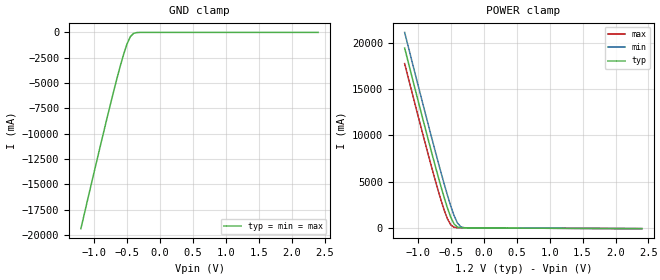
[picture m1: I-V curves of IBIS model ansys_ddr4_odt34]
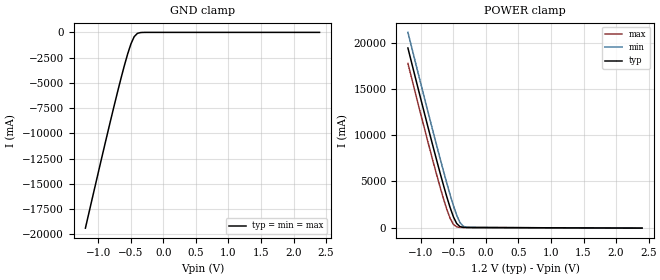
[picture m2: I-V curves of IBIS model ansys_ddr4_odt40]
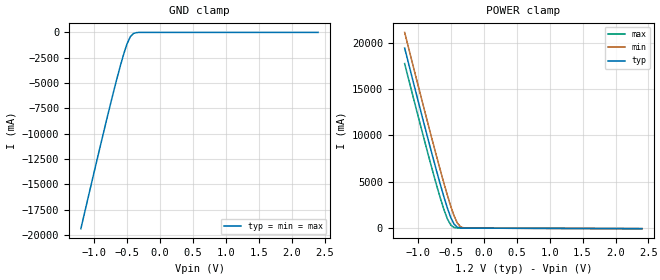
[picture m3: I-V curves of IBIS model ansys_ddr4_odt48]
|Copyright 2018 ANSYS, Inc.
[IBIS Ver] 5.1
[File Name] ansys_ddr4.ibs
[File Rev] 0.1
[Date] 2018-04-01
[Source] Nexxim 2018.0.0
[Disclaimer] No warranties expressed or implied
[Copyright] 2018 ANSYS, Inc.
[Component] ANSYS_DDR4_v001
[Manufacturer] ANSYS, Inc.
[Package]
R_pkg 0.244 0.232 0.256
L_pkg 9.87e-10 9.38e-10 1.036e-09
C_pkg 6.91e-13 6.56e-13 7.26e-13
[Pin] signal_name model_name
A1 DQ0_out ansys_ddr4_dq
A2 A0_out ansys_ddr4_pp
A3 DQS_t_out ansys_ddr4_dq
A4 DQS_c_out ansys_ddr4_dq
A5 CK_t_out ansys_ddr4_pp
A6 CK_c_out ansys_ddr4_pp
A7 DQ0_in ansys_ddr4_dq_odt
A8 A0_in ansys_ddr4_input
A9 DQS_t_in ansys_ddr4_dq_odt
A10 DQS_c_in ansys_ddr4_dq_odt
A11 CK_t_in ansys_ddr4_input
A12 CK_c_in ansys_ddr4_input
[Diff Pin] inv_pin vdiff tdelay_typ tdelay_min tdelay_max
A3 A4 NA NA
A5 A6 NA NA
A9 A10 NA NA
A11 A12 NA NA
[Model Selector] ansys_ddr4_dq_odt
ansys_ddr4_odt34 34 ohm ODT
ansys_ddr4_odt40 40 ohm ODT
ansys_ddr4_odt48 48 ohm ODT
ansys_ddr4_odt60 60 ohm ODT
ansys_ddr4_odt80 80 ohm ODT
ansys_ddr4_odt120 120 ohm ODT
ansys_ddr4_odt240 240 ohm ODT
[Model Selector] ansys_ddr4_dq
ansys_ddr4_r34 34 ohm drive
ansys_ddr4_r48 48 ohm drive
[Model Selector] ansys_ddr4_pp
ansys_ddr4_pp34 PP 34 ohm drive
ansys_ddr4_pp48 PP 48 ohm drive
| Models and submodels in the file (12): ansys_ddr4_odt34 (Input), ansys_ddr4_odt40 (Input), ansys_ddr4_odt48 (Input), ansys_ddr4_odt60 (Input), ansys_ddr4_odt80 (Input), ansys_ddr4_odt120 (Input), ansys_ddr4_odt240 (Input), ansys_ddr4_input (Input), ansys_ddr4_r34 (Output), ansys_ddr4_r48 (Output), ansys_ddr4_pp34 (Output), ansys_ddr4_pp48 (Output)
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|Model ansys_ddr4_odt34
[Model] ansys_ddr4_odt34
Model_type Input
Vinl = 0.8
Vinh = 1.0
C_comp 1e-13 9.5e-14 1.05e-13
[Temperature Range] 25.0 0.0 85.0
[Voltage Range] 1.2 1.14 1.26
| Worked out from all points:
|   GND clamp passes 1 mA (typ) near -0.27 V on its own axis
|   POWER clamp passes 1 mA (typ) near -0.03 V on its own axis
[GND Clamp]
-1.2V     -19.39A    -19.39A    -19.39A
-850mV    -9.722A    -9.722A    -9.722A
-700mV    -5.751A    -5.751A    -5.751A
-600mV    -3.265A    -3.265A    -3.265A
-550mV    -2.13A     -2.13A     -2.13A
-500mV    -1.141A    -1.141A    -1.141A
-450mV    -425.1mA   -425.1mA   -425.1mA
-400mV    -94.51mA   -94.51mA   -94.51mA
-250mV    -337.2uA   -337.2uA   -337.2uA
2.4V      240uA      240uA      240uA
[POWER Clamp]
-1.2V     19.42A     21.11A     17.74A
-950mV    12.47A     14.13A     10.83A
-800mV    8.402A     10.02A     6.811A
-700mV    5.771A     7.34A      4.252A
-600mV    3.282A     4.753A     1.932A
-550mV    2.146A     3.522A     984.8mA
-500mV    1.156A     2.365A     340.3mA
-450mV    438.3mA    1.338A     77.38mA
-400mV    106.2mA    553mA      19.76mA
-350mV    25.3mA     145.2mA    9.602mA
-200mV    5.927mA    8.51mA     3.926mA
2.4V      -70.59mA   -72.45mA   -68.91mA
|Model ansys_ddr4_odt40
[Model] ansys_ddr4_odt40
Model_type Input
Vinl = 0.8
Vinh = 1.0
C_comp 1e-13 9.5e-14 1.05e-13
[Temperature Range] 25.0 0.0 85.0
[Voltage Range] 1.2 1.14 1.26
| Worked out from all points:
|   GND clamp passes 1 mA (typ) near -0.27 V on its own axis
|   POWER clamp passes 1 mA (typ) near -0.04 V on its own axis
[GND Clamp]
-1.2V     -19.39A    -19.39A    -19.39A
-850mV    -9.722A    -9.722A    -9.722A
-700mV    -5.751A    -5.751A    -5.751A
-600mV    -3.265A    -3.265A    -3.265A
-550mV    -2.13A     -2.13A     -2.13A
-500mV    -1.141A    -1.141A    -1.141A
-450mV    -425.1mA   -425.1mA   -425.1mA
-400mV    -94.51mA   -94.51mA   -94.51mA
-250mV    -337.2uA   -337.2uA   -337.2uA
2.4V      240uA      240uA      240uA
[POWER Clamp]
-1.2V     19.42A     21.1A      17.74A
-950mV    12.47A     14.13A     10.83A
-800mV    8.399A     10.02A     6.808A
-700mV    5.768A     7.336A     4.249A
-600mV    3.28A      4.75A      1.93A
-550mV    2.143A     3.519A     982.8mA
-500mV    1.154A     2.362A     338.4mA
-450mV    436.3mA    1.336A     75.74mA
-400mV    104.5mA    550.8mA    18.33mA
-350mV    23.76mA    143.3mA    8.383mA
-200mV    5.045mA    7.303mA    3.338mA
2.4V      -60mA      -61.58mA   -58.57mA
|Model ansys_ddr4_odt48
[Model] ansys_ddr4_odt48
Model_type Input
Vinl = 0.8
Vinh = 1.0
C_comp 1e-13 9.5e-14 1.05e-13
[Temperature Range] 25.0 0.0 85.0
[Voltage Range] 1.2 1.14 1.26
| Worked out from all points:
|   GND clamp passes 1 mA (typ) near -0.27 V on its own axis
|   POWER clamp passes 1 mA (typ) near -0.05 V on its own axis
[GND Clamp]
-1.2V     -19.39A    -19.39A    -19.39A
-850mV    -9.722A    -9.722A    -9.722A
-700mV    -5.751A    -5.751A    -5.751A
-600mV    -3.265A    -3.265A    -3.265A
-550mV    -2.13A     -2.13A     -2.13A
-500mV    -1.141A    -1.141A    -1.141A
-450mV    -425.1mA   -425.1mA   -425.1mA
-400mV    -94.51mA   -94.51mA   -94.51mA
-250mV    -337.2uA   -337.2uA   -337.2uA
2.4V      240uA      240uA      240uA
[POWER Clamp]
-1.2V     19.41A     21.1A      17.73A
-950mV    12.47A     14.12A     10.82A
-800mV    8.395A     10.01A     6.805A
-700mV    5.765A     7.333A     4.247A
-600mV    3.277A     4.747A     1.928A
-550mV    2.141A     3.516A     980.8mA
-500mV    1.152A     2.36A      336.7mA
-450mV    434.4mA    1.333A     74.19mA
-400mV    102.8mA    548.8mA    16.98mA
-350mV    22.3mA     141.5mA    7.233mA
-200mV    4.211mA    6.162mA    2.782mA
2.4V      -50mA      -51.32mA   -48.81mA
